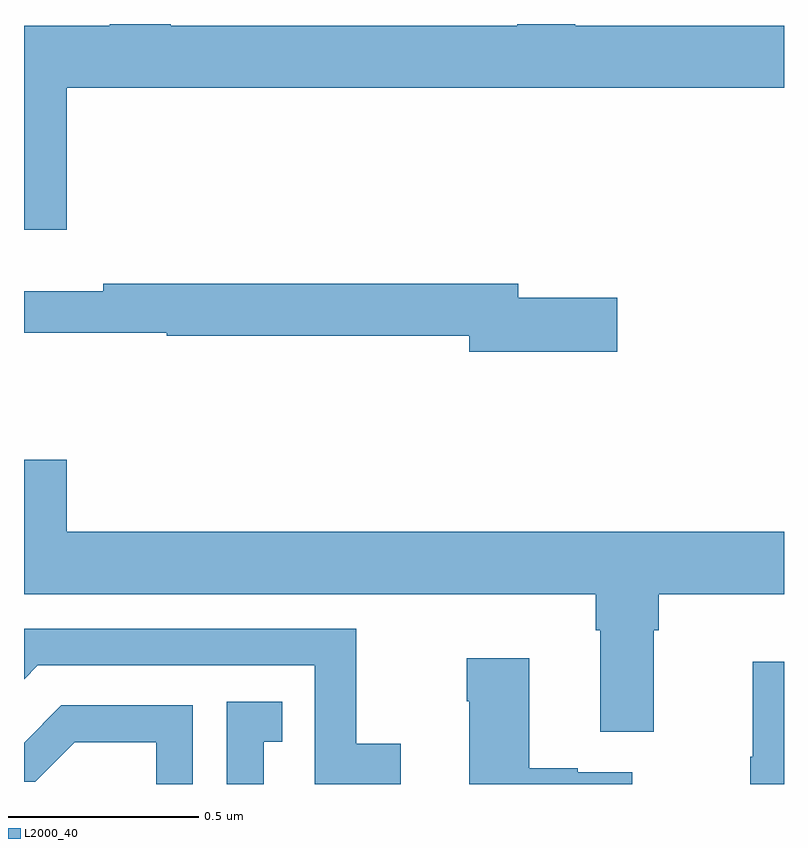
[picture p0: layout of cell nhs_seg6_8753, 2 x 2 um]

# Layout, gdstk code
import gdstk
lib = gdstk.Library(unit=1e-6, precision=1e-09)
def P(c, l, *ps):  # polygons
    for p in ps: c.add(gdstk.Polygon(p, *l))
L2000_40 = (2000, 40)

nhs_seg6_8753 = lib.new_cell('nhs_seg6_8753')
P(nhs_seg6_8753, L2000_40, [(225.112,951.332),(227,951.332),(227,951.496),(226.45,951.496),(226.45,951.5),(226.298,951.5),(226.298,951.496),(225.386,951.496),(225.386,951.5),(225.226,951.5),(225.226,951.496),(225,951.496),(225,950.958),(225.112,950.958)],
  [(226.561,950.78),(226.3,950.78),(226.3,950.816),(225.208,950.816),(225.208,950.797),(225,950.797),(225,950.688),(225.376,950.688),(225.376,950.68),(226.172,950.68),(226.172,950.638),(226.561,950.638)],
  [(226.657,949.904),(226.67,949.904),(226.67,950),(227,950),(227,950.164),(225.112,950.164),(225.112,950.353),(225,950.353),(225,950),(226.505,950),(226.505,949.904),(226.517,949.904),(226.517,949.638),(226.657,949.638)],
  [(225.992,949.606),(225.874,949.606),(225.874,949.908),(225,949.908),(225,949.776),(225.036,949.812),(225.765,949.812),(225.765,949.5),(225.992,949.5)],
  [(226.6,949.531),(226.457,949.531),(226.457,949.541),(226.33,949.541),(226.33,949.831),(226.165,949.831),(226.165,949.718),(226.172,949.718),(226.172,949.5),(226.6,949.5)],
  [(227,949.822),(226.918,949.822),(226.918,949.572),(226.911,949.572),(226.911,949.5),(227,949.5)],
  [(225.631,949.611),(225.68,949.611),(225.68,949.717),(225.534,949.717),(225.534,949.5),(225.631,949.5)],
  [(225.444,949.707),(225.098,949.707),(225,949.609),(225,949.506),(225.03,949.506),(225.134,949.61),(225.348,949.61),(225.348,949.5),(225.444,949.5)])

lib.write_gds('nhs_seg6_8753.gds')
